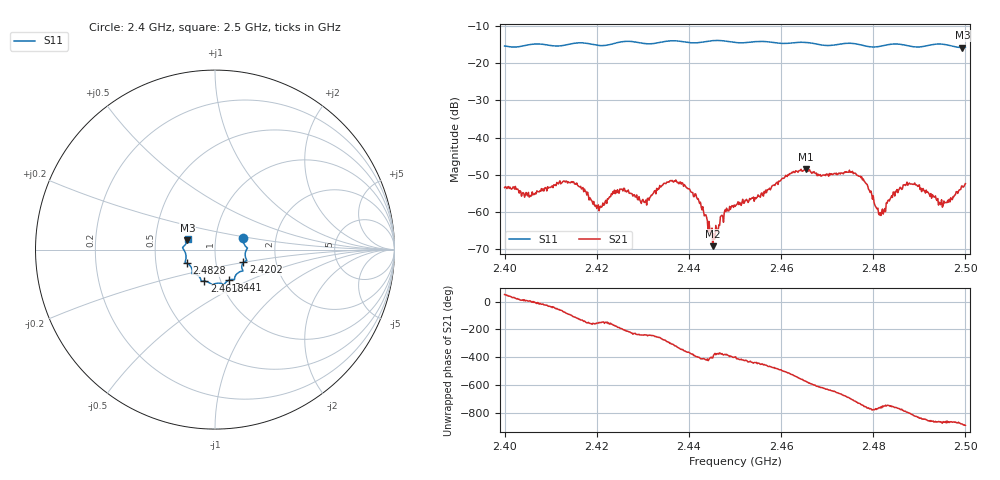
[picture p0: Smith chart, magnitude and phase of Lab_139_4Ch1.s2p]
# Hz S RI R 50
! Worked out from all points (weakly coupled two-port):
!   601 points, 2.4 GHz to 2.5 GHz, reference 50 ohm
!   highest |S21| = -48.47 dB at 2.4653 GHz (marker M1); lowest = -69.1 dB at 2.4452 GHz (marker M2)
!   lowest |S11| = -15.8 dB at 2.4993 GHz (marker M3), VSWR 1.39, Z = 36.5 + j3.86 ohm
!   |S11| at or under -10 dB: start of sweep to end of sweep
!   S12 and S22 are empty: the file has one direction only
!   S11 on the Smith chart (normalised r, x): 2.4 GHz: 1.36, +0.18; 2.4202 GHz: 1.36, -0.20; 2.441 GHz: 1.10, -0.39; 2.4618 GHz: 0.84, -0.30; 2.4828 GHz: 0.72, -0.11; 2.5 GHz: 0.73, +0.09
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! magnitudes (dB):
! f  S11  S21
! 2.4 GHz  -15.4  -53.4
! 2.4167 GHz  -14.5  -53.7
! 2.4202 GHz  -15.2  -58.6
! 2.4255 GHz  -14.2  -53.8
! 2.4303 GHz  -14.7  -57.4
! 2.4333 GHz  -14.5  -53.6
! 2.4367 GHz  -14.0  -51.9
! 2.441 GHz  -14.6  -55.8
! 2.4452 GHz  -14.0  -69.1
! 2.45 GHz  -14.4  -58.5
! 2.4618 GHz  -14.6  -49.6
! 2.4653 GHz  -14.4  -48.5
! 2.4667 GHz  -14.6  -49.6
! 2.4757 GHz  -14.7  -49.7
! 2.4783 GHz  -15.4  -52.2
! 2.4812 GHz  -15.6  -60.4
! 2.4828 GHz  -15.1  -57.5
! 2.4833 GHz  -15.0  -56.7
! 2.4877 GHz  -15.4  -52.4
! 2.4947 GHz  -14.9  -58.0
! 2.4993 GHz  -15.8  -53.0
! 2.5 GHz  -15.7  -52.3
